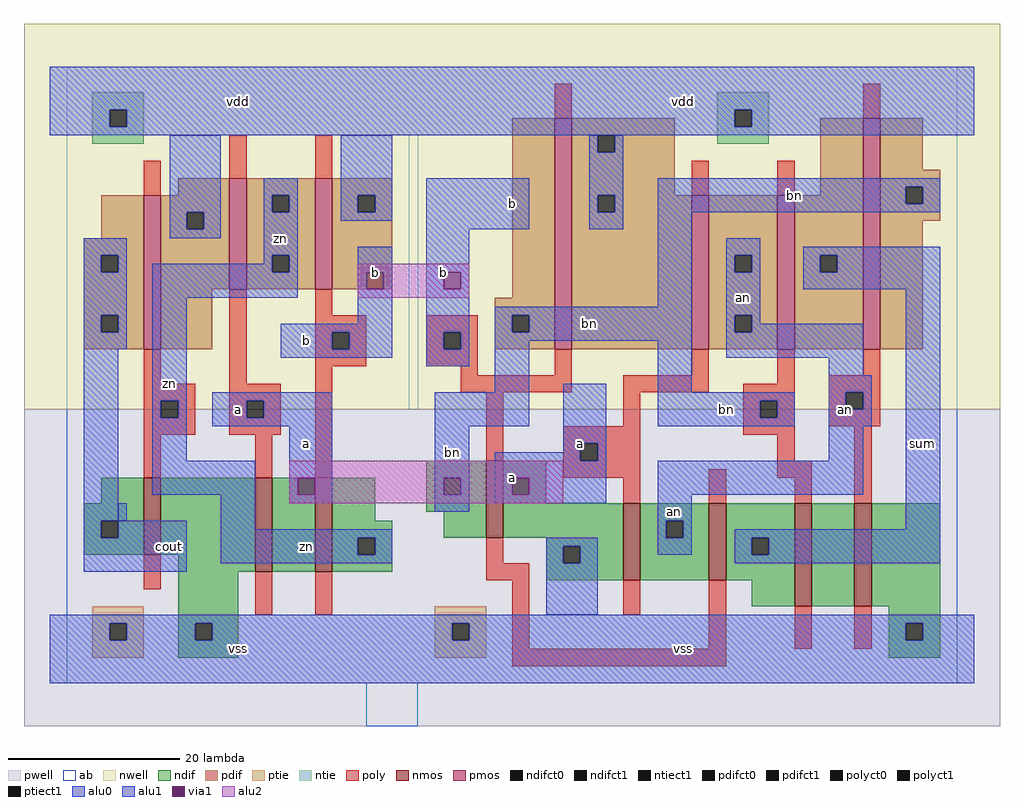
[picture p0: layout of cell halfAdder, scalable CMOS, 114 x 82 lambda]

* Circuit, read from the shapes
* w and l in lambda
.subckt halfAdder a an b bn cout sum vdd vss zn
M1 vss zn cout vss nfet w=9 l=2
M2 n1 a vss vss nfet w=11 l=2
M3 zn b n1 vss nfet w=11 l=2
M4 vss b bn vss nfet w=9 l=2
M5 an a vss vss nfet w=9 l=2
M6 sum b an vss nfet w=9 l=2
M7 n2 bn sum vss nfet w=12 l=2
M8 vss an n2 vss nfet w=12 l=2
M9 vdd zn cout vdd pfet w=18 l=2
M10 zn a vdd vdd pfet w=13 l=2
M11 vdd b zn vdd pfet w=13 l=2
M12 vdd b bn vdd pfet w=27 l=2
M13 an a vdd vdd pfet w=18 l=2
M14 sum bn an vdd pfet w=18 l=2
M15 bn an sum vdd pfet w=27 l=2
.ends

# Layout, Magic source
magic
tech scmos
<< ab >>
rect -35 69 69 77
rect -35 37 5 69
rect 6 37 69 69
rect -35 5 69 37
rect 0 0 6 5
<< nwell >>
rect -40 37 74 82
<< pwell >>
rect -40 0 74 37
<< poly >>
rect 22 71 24 75
rect -26 62 -24 66
rect -16 64 -14 69
rect -6 64 -4 69
rect -26 40 -24 44
rect -16 40 -14 51
rect -6 48 -4 51
rect -6 46 0 48
rect -6 44 -4 46
rect -2 44 0 46
rect -6 42 0 44
rect 7 46 13 48
rect 7 44 9 46
rect 11 44 13 46
rect 58 71 60 75
rect 38 62 40 66
rect 48 62 50 66
rect 7 42 13 44
rect -26 38 -20 40
rect -26 36 -24 38
rect -22 36 -20 38
rect -26 34 -20 36
rect -16 38 -10 40
rect -16 36 -14 38
rect -12 36 -10 38
rect -16 34 -10 36
rect -26 29 -24 34
rect -13 29 -11 34
rect -6 29 -4 42
rect 11 41 13 42
rect 22 41 24 44
rect 38 41 40 44
rect 11 39 24 41
rect 30 39 40 41
rect 48 40 50 44
rect 58 41 60 44
rect 14 31 16 39
rect 30 35 32 39
rect 23 33 32 35
rect 44 38 50 40
rect 44 36 46 38
rect 48 36 50 38
rect 44 34 50 36
rect 54 39 60 41
rect 54 37 56 39
rect 58 37 60 39
rect 54 35 60 37
rect 23 31 25 33
rect 27 31 32 33
rect -26 16 -24 20
rect 23 29 32 31
rect 48 31 50 34
rect 30 26 32 29
rect 40 26 42 30
rect 48 29 52 31
rect 50 26 52 29
rect 57 26 59 35
rect 14 19 16 22
rect -13 13 -11 18
rect -6 13 -4 18
rect 14 17 19 19
rect 17 9 19 17
rect 30 13 32 17
rect 40 9 42 17
rect 50 9 52 14
rect 57 9 59 14
rect 17 7 42 9
<< ndif >>
rect 7 29 14 31
rect -31 26 -26 29
rect -33 24 -26 26
rect -33 22 -31 24
rect -29 22 -26 24
rect -33 20 -26 22
rect -24 20 -13 29
rect -22 18 -13 20
rect -11 18 -6 29
rect -4 24 1 29
rect 7 27 9 29
rect 11 27 14 29
rect 7 25 14 27
rect -4 22 3 24
rect 9 22 14 25
rect 16 26 21 31
rect 16 22 30 26
rect -4 20 -1 22
rect 1 20 3 22
rect -4 18 3 20
rect 21 21 30 22
rect 21 19 23 21
rect 25 19 30 21
rect -22 12 -15 18
rect 21 17 30 19
rect 32 24 40 26
rect 32 22 35 24
rect 37 22 40 24
rect 32 17 40 22
rect 42 22 50 26
rect 42 20 45 22
rect 47 20 50 22
rect 42 17 50 20
rect -22 10 -20 12
rect -18 10 -15 12
rect -22 8 -15 10
rect 45 14 50 17
rect 52 14 57 26
rect 59 14 67 26
rect 61 12 67 14
rect 61 10 63 12
rect 65 10 67 12
rect 61 8 67 10
<< pdif >>
rect -22 62 -16 64
rect -31 57 -26 62
rect -33 55 -26 57
rect -33 53 -31 55
rect -29 53 -26 55
rect -33 48 -26 53
rect -33 46 -31 48
rect -29 46 -26 48
rect -33 44 -26 46
rect -24 60 -16 62
rect -24 58 -21 60
rect -19 58 -16 60
rect -24 51 -16 58
rect -14 62 -6 64
rect -14 60 -11 62
rect -9 60 -6 62
rect -14 55 -6 60
rect -14 53 -11 55
rect -9 53 -6 55
rect -14 51 -6 53
rect -4 62 3 64
rect -4 60 -1 62
rect 1 60 3 62
rect -4 51 3 60
rect -24 44 -18 51
rect 17 50 22 71
rect 15 48 22 50
rect 15 46 17 48
rect 19 46 22 48
rect 15 44 22 46
rect 24 69 36 71
rect 24 67 27 69
rect 29 67 36 69
rect 24 62 36 67
rect 53 62 58 71
rect 24 60 27 62
rect 29 60 38 62
rect 24 44 38 60
rect 40 55 48 62
rect 40 53 43 55
rect 45 53 48 55
rect 40 48 48 53
rect 40 46 43 48
rect 45 46 48 48
rect 40 44 48 46
rect 50 55 58 62
rect 50 53 53 55
rect 55 53 58 55
rect 50 44 58 53
rect 60 65 65 71
rect 60 63 67 65
rect 60 61 63 63
rect 65 61 67 63
rect 60 59 67 61
rect 60 44 65 59
<< alu1 >>
rect -37 72 71 77
rect -37 70 -30 72
rect -28 70 43 72
rect 45 70 71 72
rect -37 69 71 70
rect -33 55 -28 57
rect -33 53 -31 55
rect -29 53 -28 55
rect 7 58 19 64
rect -33 48 -28 53
rect -33 46 -31 48
rect -29 46 -28 48
rect -33 44 -28 46
rect -1 53 3 56
rect -1 51 0 53
rect 2 51 3 53
rect -33 24 -29 44
rect -1 47 3 51
rect -10 46 3 47
rect -10 44 -4 46
rect -2 44 3 46
rect -10 43 3 44
rect 7 53 12 58
rect 7 51 9 53
rect 11 51 12 53
rect 7 46 12 51
rect 7 44 9 46
rect 11 44 12 46
rect 7 42 12 44
rect -18 38 -4 39
rect -18 36 -14 38
rect -12 36 -4 38
rect -18 35 -4 36
rect -33 22 -31 24
rect -29 22 -21 24
rect -33 18 -21 22
rect -9 29 -4 35
rect -9 27 -8 29
rect -6 27 -4 29
rect -9 26 -4 27
rect 23 33 28 40
rect 51 55 67 56
rect 51 53 53 55
rect 55 53 67 55
rect 51 51 67 53
rect 23 32 25 33
rect 15 31 25 32
rect 27 31 28 33
rect 15 29 28 31
rect 15 27 17 29
rect 19 27 28 29
rect 15 26 28 27
rect 63 23 67 51
rect 43 22 67 23
rect 43 20 45 22
rect 47 20 67 22
rect 43 19 67 20
rect -37 12 71 13
rect -37 10 -30 12
rect -28 10 -20 12
rect -18 10 10 12
rect 12 10 63 12
rect 65 10 71 12
rect -37 5 71 10
<< alu2 >>
rect -1 53 12 54
rect -1 51 0 53
rect 2 51 9 53
rect 11 51 12 53
rect -1 50 12 51
rect -9 29 23 31
rect -9 27 -8 29
rect -6 27 17 29
rect 19 27 23 29
rect -9 26 23 27
<< ptie >>
rect -32 12 -26 14
rect -32 10 -30 12
rect -28 10 -26 12
rect -32 8 -26 10
rect 8 12 14 14
rect 8 10 10 12
rect 12 10 14 12
rect 8 8 14 10
<< ntie >>
rect -32 72 -26 74
rect -32 70 -30 72
rect -28 70 -26 72
rect 41 72 47 74
rect -32 68 -26 70
rect 41 70 43 72
rect 45 70 47 72
rect 41 68 47 70
<< nmos >>
rect -26 20 -24 29
rect -13 18 -11 29
rect -6 18 -4 29
rect 14 22 16 31
rect 30 17 32 26
rect 40 17 42 26
rect 50 14 52 26
rect 57 14 59 26
<< pmos >>
rect -26 44 -24 62
rect -16 51 -14 64
rect -6 51 -4 64
rect 22 44 24 71
rect 38 44 40 62
rect 48 44 50 62
rect 58 44 60 71
<< polyct0 >>
rect -24 36 -22 38
rect 46 36 48 38
rect 56 37 58 39
<< polyct1 >>
rect -4 44 -2 46
rect 9 44 11 46
rect -14 36 -12 38
rect 25 31 27 33
<< ndifct0 >>
rect 9 27 11 29
rect -1 20 1 22
rect 23 19 25 21
rect 35 22 37 24
<< ndifct1 >>
rect -31 22 -29 24
rect 45 20 47 22
rect -20 10 -18 12
rect 63 10 65 12
<< ntiect1 >>
rect -30 70 -28 72
rect 43 70 45 72
<< ptiect1 >>
rect -30 10 -28 12
rect 10 10 12 12
<< pdifct0 >>
rect -21 58 -19 60
rect -11 60 -9 62
rect -11 53 -9 55
rect -1 60 1 62
rect 17 46 19 48
rect 27 67 29 69
rect 27 60 29 62
rect 43 53 45 55
rect 43 46 45 48
rect 63 61 65 63
<< pdifct1 >>
rect -31 53 -29 55
rect -31 46 -29 48
rect 53 53 55 55
<< alu0 >>
rect -23 60 -17 69
rect -23 58 -21 60
rect -19 58 -17 60
rect -23 57 -17 58
rect -12 62 -8 64
rect -12 60 -11 62
rect -9 60 -8 62
rect -12 55 -8 60
rect -3 62 3 69
rect 26 67 27 69
rect 29 67 30 69
rect -3 60 -1 62
rect 1 60 3 62
rect -3 59 3 60
rect 26 62 30 67
rect 26 60 27 62
rect 29 60 30 62
rect 26 58 30 60
rect 34 63 67 64
rect 34 61 63 63
rect 65 61 67 63
rect 34 60 67 61
rect -12 54 -11 55
rect -25 53 -11 54
rect -9 53 -8 55
rect -25 50 -8 53
rect -25 38 -21 50
rect 34 49 38 60
rect 15 48 38 49
rect 15 46 17 48
rect 19 46 38 48
rect 15 45 38 46
rect 15 39 19 45
rect -25 36 -24 38
rect -22 36 -21 38
rect -25 31 -21 36
rect -25 27 -13 31
rect -29 24 -28 26
rect -17 23 -13 27
rect 8 35 19 39
rect 8 29 12 35
rect 34 39 38 45
rect 42 55 46 57
rect 42 53 43 55
rect 45 53 46 55
rect 42 48 46 53
rect 42 46 43 48
rect 45 47 46 48
rect 45 46 58 47
rect 42 43 58 46
rect 54 41 58 43
rect 54 39 59 41
rect 34 38 50 39
rect 34 36 46 38
rect 48 36 50 38
rect 34 35 50 36
rect 54 37 56 39
rect 58 37 59 39
rect 54 35 59 37
rect 8 27 9 29
rect 11 27 12 29
rect 8 25 12 27
rect 54 31 58 35
rect 34 27 58 31
rect 34 24 38 27
rect -17 22 3 23
rect 34 22 35 24
rect 37 22 38 24
rect -17 20 -1 22
rect 1 20 3 22
rect -17 19 3 20
rect 21 21 27 22
rect 21 19 23 21
rect 25 19 27 21
rect 34 20 38 22
rect 21 13 27 19
<< via1 >>
rect 0 51 2 53
rect 9 51 11 53
rect -8 27 -6 29
rect 17 27 19 29
<< labels >>
rlabel alu0 10 32 10 32 6 bn
rlabel alu0 36 25 36 25 6 an
rlabel alu0 42 37 42 37 6 bn
rlabel alu0 44 50 44 50 6 an
rlabel alu0 26 47 26 47 6 bn
rlabel alu0 56 37 56 37 6 an
rlabel alu0 50 62 50 62 6 bn
rlabel alu1 17 29 17 29 6 a
rlabel alu1 9 53 9 53 6 b
rlabel alu1 17 61 17 61 6 b
rlabel alu1 25 33 25 33 6 a
rlabel alu1 37 9 37 9 6 vss
rlabel alu1 37 73 37 73 6 vdd
rlabel alu1 65 33 65 33 1 sum
rlabel alu1 1 53 1 53 6 b
rlabel alu1 -15 73 -15 73 6 vdd
rlabel alu1 -7 45 -7 45 6 b
rlabel alu1 -7 33 -7 33 6 a
rlabel alu1 -15 37 -15 37 6 a
rlabel alu1 -15 9 -15 9 6 vss
rlabel alu0 -10 57 -10 57 6 zn
rlabel alu0 -7 21 -7 21 6 zn
rlabel alu0 -23 40 -23 40 6 zn
rlabel alu1 -23 21 -23 21 1 cout
<< end >>
